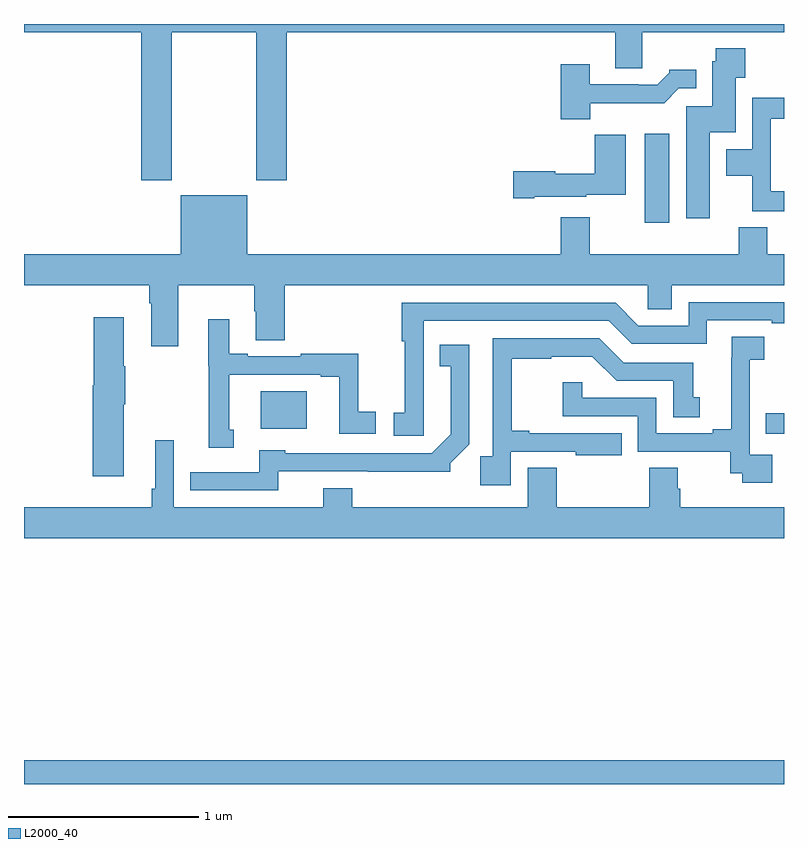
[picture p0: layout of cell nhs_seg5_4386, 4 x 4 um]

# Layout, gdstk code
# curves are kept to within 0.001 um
import gdstk
lib = gdstk.Library(unit=1e-6, precision=1e-09)
def R(c, l, rs):  # rectangles x0, y0, x1, y1
    for r in rs: c.add(gdstk.rectangle(r[:2], r[2:], *l))
def P(c, l, *ps):  # polygons
    for p in ps: c.add(gdstk.Polygon(p, *l))
L2000_40 = (2000, 40)

nhs_seg5_4386 = lib.new_cell('nhs_seg5_4386')
R(nhs_seg5_4386, L2000_40, [(369,856.799,373,856.924), (372.904,858.642,373,858.751), (370.247,858.668,370.489,858.865), (372.266,859.752,372.397,860.221)])
P(nhs_seg5_4386, L2000_40, [(369.777,860.756),(370.222,860.756),(370.222,859.977),(370.382,859.977),(370.382,860.756),(372.113,860.756),(372.113,860.566),(372.253,860.566),(372.253,860.756),(373,860.756),(373,860.799),(369,860.799),(369,860.756),(369.617,860.756),(369.617,859.977),(369.777,859.977)],
  [(372.61,860.228),(372.745,860.228),(372.745,860.515),(372.797,860.515),(372.797,860.671),(372.64,860.671),(372.64,860.604),(372.623,860.604),(372.623,860.367),(372.485,860.367),(372.485,859.776),(372.61,859.776)],
  [(371.98,860.382),(372.369,860.382),(372.447,860.46),(372.538,860.46),(372.538,860.557),(372.396,860.557),(372.396,860.542),(372.332,860.478),(372.233,860.478),(372.233,860.481),(371.977,860.481),(371.977,860.587),(371.825,860.587),(371.825,860.297),(371.98,860.297)],
  [(373,859.918),(372.93,859.918),(372.93,860.301),(373,860.301),(373,860.41),(372.834,860.41),(372.834,860.14),(372.695,860.14),(372.695,860),(372.832,860),(372.832,859.814),(373,859.814)],
  [(371.686,859.889),(371.958,859.889),(371.958,859.901),(372.166,859.901),(372.166,860.215),(372.004,860.215),(372.004,860.011),(371.796,860.011),(371.796,860.024),(371.574,860.024),(371.574,859.882),(371.686,859.882)],
  [(371.977,859.783),(371.825,859.783),(371.825,859.588),(370.174,859.588),(370.174,859.897),(369.824,859.897),(369.824,859.588),(369,859.588),(369,859.424),(369.659,859.424),(369.659,859.328),(369.671,859.328),(369.671,859.104),(369.811,859.104),(369.811,859.424),(370.213,859.424),(370.213,859.286),(370.22,859.286),(370.22,859.135),(370.373,859.135),(370.373,859.424),(372.282,859.424),(372.282,859.297),(372.409,859.297),(372.409,859.424),(373,859.424),(373,859.588),(372.913,859.588),(372.913,859.729),(372.761,859.729),(372.761,859.588),(371.977,859.588)],
  [(371.104,858.908),(371.103,859.236),(372.078,859.236),(372.198,859.116),(372.594,859.116),(372.594,859.239),(372.935,859.239),(372.935,859.224),(373,859.224),(373,859.335),(372.498,859.335),(372.498,859.212),(372.234,859.212),(372.114,859.332),(370.987,859.332),(370.987,859.129),(371.005,859.129),(371.005,858.753),(370.947,858.753),(370.947,858.633),(371.104,858.633)],
  [(369.526,858.797),(369.534,858.797),(369.534,858.997),(369.526,858.997),(369.526,859.255),(369.368,859.255),(369.368,858.897),(369.362,858.897),(369.362,858.42),(369.526,858.42)],
  [(370.105,858.663),(370.081,858.663),(370.081,858.954),(370.562,858.954),(370.562,858.942),(370.658,858.942),(370.658,858.642),(370.852,858.642),(370.852,858.758),(370.758,858.758),(370.758,859.063),(370.456,859.063),(370.456,859.05),(370.177,859.05),(370.177,859.063),(370.081,859.063),(370.081,859.246),(369.971,859.246),(369.971,859.001),(369.972,859.001),(369.972,858.569),(370.105,858.569)],
  [(372.937,858.531),(372.819,858.531),(372.819,858.835),(372.821,858.835),(372.821,859.033),(372.895,859.033),(372.895,859.154),(372.724,859.154),(372.724,859.043),(372.722,859.043),(372.722,858.665),(372.626,858.665),(372.626,858.645),(372.327,858.645),(372.327,858.831),(371.937,858.831),(371.937,858.913),(371.836,858.913),(371.836,858.735),(372.231,858.735),(372.231,858.549),(372.718,858.549),(372.718,858.435),(372.781,858.435),(372.781,858.384),(372.937,858.384)],
  [(371.562,858.549),(371.903,858.549),(371.903,858.53),(372.146,858.53),(372.146,858.645),(371.659,858.645),(371.659,858.658),(371.567,858.658),(371.567,859.038),(371.774,859.038),(371.774,859.049),(371.992,859.049),(372.12,858.921),(372.416,858.921),(372.416,858.73),(372.556,858.73),(372.556,858.834),(372.523,858.834),(372.523,859.017),(372.156,859.017),(372.027,859.146),(371.466,859.146),(371.466,858.523),(371.401,858.523),(371.401,858.372),(371.562,858.372)],
  [(370.338,858.444),(371.244,858.443),(371.244,858.487),(371.343,858.586),(371.343,859.111),(371.188,859.111),(371.188,858.998),(371.246,858.998),(371.246,858.641),(371.145,858.54),(370.374,858.54),(370.374,858.556),(370.238,858.556),(370.238,858.441),(369.874,858.441),(369.874,858.345),(370.338,858.345)],
  [(373,858.256),(372.455,858.256),(372.455,858.354),(372.442,858.354),(372.442,858.464),(372.29,858.464),(372.29,858.256),(371.804,858.256),(371.804,858.464),(371.651,858.464),(371.651,858.256),(370.727,858.256),(370.727,858.355),(370.574,858.355),(370.574,858.256),(369.789,858.256),(369.789,858.607),(369.692,858.607),(369.692,858.352),(369.673,858.352),(369.673,858.256),(369,858.256),(369,858.092),(373,858.092)])

lib.write_gds('nhs_seg5_4386.gds')
